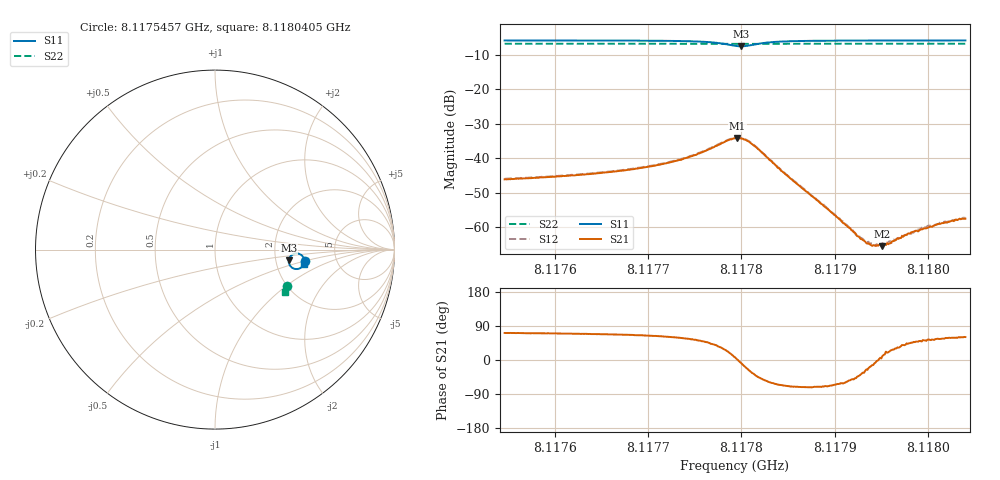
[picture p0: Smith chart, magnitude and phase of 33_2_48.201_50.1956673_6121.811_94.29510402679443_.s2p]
#  HZ  S  RI  R  50.00
! Rohde & Schwarz Vector Network Analyzer
! Rohde-Schwarz,ZNB20-2Port,1311601062101988,3.16
! Created: UTC 3/20/2024, 11:37:32 AM
! freq[Hz]  re:S11  im:S11  re:S21  im:S21  re:S12  im:S12  re:S22  im:S22
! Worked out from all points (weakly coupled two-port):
!   401 points, 8.1175457 GHz to 8.1180405 GHz, reference 50 ohm
!   highest |S21| = -34.12 dB at 8.1177955 GHz (marker M1); lowest = -65.4 dB at 8.1179514 GHz (marker M2)
!   lowest |S11| = -7.6 dB at 8.1177993 GHz (marker M3), VSWR 2.42, Z = 118 - j17.3 ohm
!   |S11| at or under -10 dB: nowhere
!   |S22| runs from -7.0 to -6.9 dB; largest |S21 - S12| = 0.00059
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8.1175457e9  0.501 -0.0622  0.00158 0.00468  0.00162 0.00477  0.4031 -0.205
8.11762857e9  0.4988 -0.0722  0.00206 0.00538  0.00216 0.00548  0.4007 -0.2103
8.11767433e9  0.496 -0.0794  0.00262 0.00613  0.00272 0.00622  0.3991 -0.2134
8.11771144e9  0.4918 -0.0878  0.00366 0.00714  0.00382 0.00726  0.3977 -0.2158
8.11774978e9  0.4789 -0.101  0.0066 0.0089  0.00682 0.0091  0.3959 -0.2186
8.11777823e9  0.4448 -0.1074  0.0137 0.00879  0.0142 0.0087  0.3936 -0.2201
8.11779308e9  0.4144 -0.0824  0.0192 0.00237  0.0197 0.0022  0.3921 -0.2196
8.11779555e9  0.4117 -0.0741  0.0197 0.000472  0.0199 0.00026  0.392 -0.2194
8.11779926e9  0.4109 -0.0605  0.0192 -0.00245  0.0195 -0.0027  0.392 -0.219
8.11780668e9  0.4217 -0.036  0.0162 -0.00722  0.0163 -0.00754  0.3926 -0.2186
8.1178141e9  0.4409 -0.0233  0.0117 -0.00939  0.0118 -0.00973  0.3933 -0.2187
8.1178376e9  0.4816 -0.0308  0.00341 -0.00688  0.00335 -0.00698  0.3942 -0.221
8.11787595e9  0.4962 -0.0515  0.00087 -0.00266  0.000878 -0.00271  0.3934 -0.2243
8.11790316e9  0.4984 -0.06  0.000624 -0.00124  0.000642 -0.00129  0.3925 -0.2261
8.11792295e9  0.4988 -0.0646  0.000534 -0.000593  0.000536 -0.000558  0.3919 -0.2275
8.11793284e9  0.499 -0.0665  0.000545 -0.000297  0.00054 -0.000333  0.3917 -0.2282
8.1179415e9  0.499 -0.0682  0.000538 -0.000125  0.000573 -0.000151  0.3913 -0.2288
8.1179514e9  0.4991 -0.0699  0.000526 9.91e-05  0.000588 5.61e-05  0.3909 -0.2295
8.11795882e9  0.4991 -0.0711  0.000539 0.00022  0.000592 0.000216  0.3905 -0.2299
8.11798479e9  0.4989 -0.0747  0.000581 0.000641  0.000575 0.000604  0.3899 -0.2317
8.11800211e9  0.4987 -0.077  0.00061 0.000817  0.000622 0.000834  0.3892 -0.2328
8.11804046e9  0.4983 -0.0814  0.000654 0.00116  0.000697 0.00118  0.3878 -0.2351
